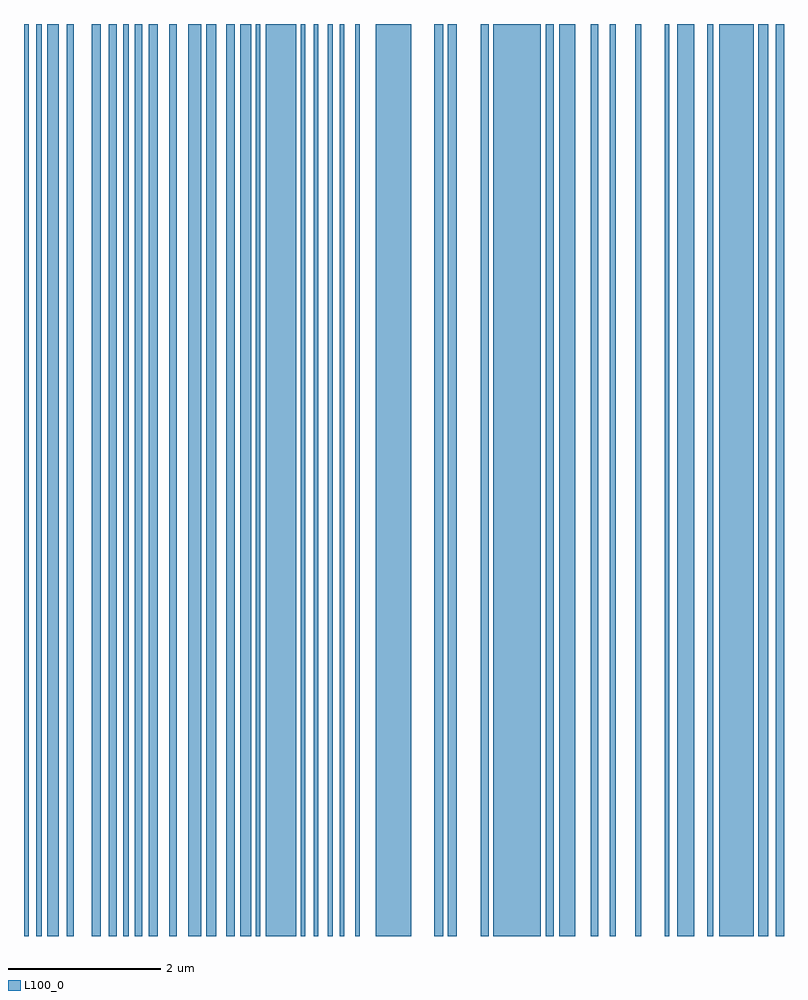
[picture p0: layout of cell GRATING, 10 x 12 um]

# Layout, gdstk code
import gdstk
lib = gdstk.Library(unit=1e-6, precision=1e-09)
def R(c, l, rs):  # rectangles x0, y0, x1, y1
    for r in rs: c.add(gdstk.rectangle(r[:2], r[2:], *l))
L100_0 = (100, 0)

grating = lib.new_cell('GRATING')
R(grating, L100_0, [(0,-6,0.063,6), (0.164,-6,0.232,6), (0.307,-6,0.456,6), (0.562,-6,0.657,6), (0.89,-6,1.013,6), (1.114,-6,1.222,6), (1.308,-6,1.375,6), (1.457,-6,1.559,6), (1.64,-6,1.759,6), (1.908,-6,2.013,6), (2.164,-6,2.33,6), (2.4,-6,2.532,6), (2.662,-6,2.771,6), (2.847,-6,2.99,6), (3.05,-6,3.11,6), (3.18,-6,3.581,6), (3.641,-6,3.701,6), (3.81,-6,3.87,6), (3.996,-6,4.061,6), (4.152,-6,4.212,6), (4.358,-6,4.421,6), (4.63,-6,5.098,6), (5.396,-6,5.514,6), (5.574,-6,5.694,6), (6.013,-6,6.113,6), (6.173,-6,6.799,6), (6.864,-6,6.973,6), (7.041,-6,7.251,6), (7.457,-6,7.556,6), (7.708,-6,7.789,6), (8.043,-6,8.121,6), (8.429,-6,8.493,6), (8.593,-6,8.821,6), (8.992,-6,9.066,6), (9.151,-6,9.6,6), (9.664,-6,9.792,6), (9.891,-6,10,6)])

lib.write_gds('GRATING.gds')
